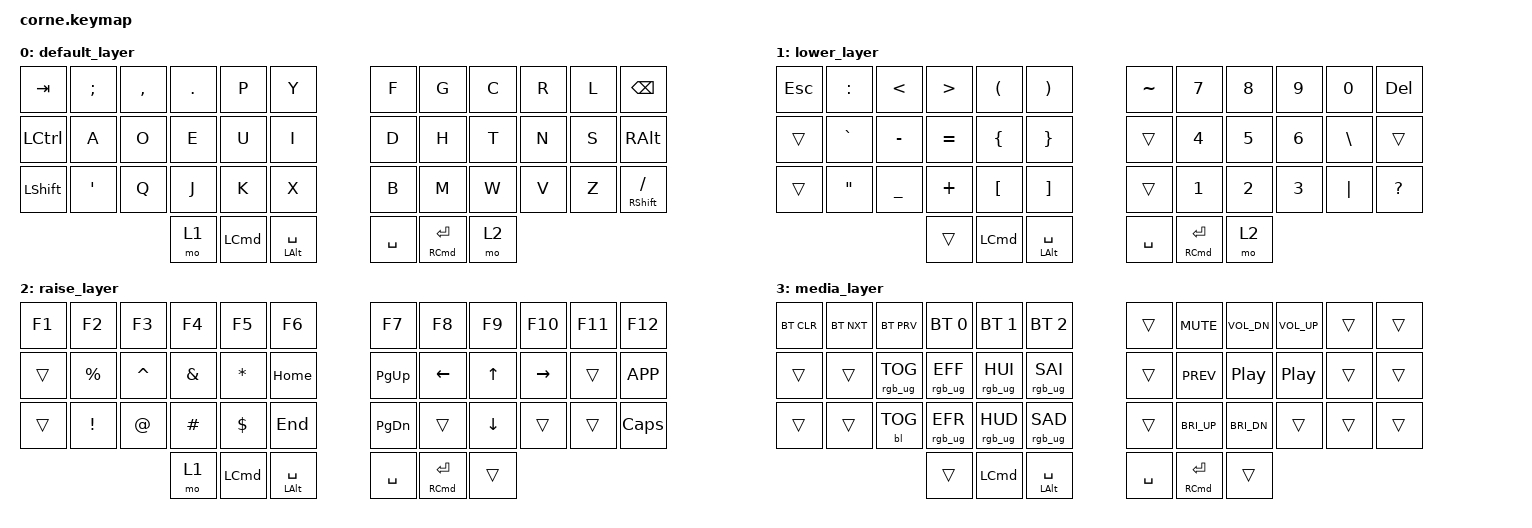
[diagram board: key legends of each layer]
/*
* Copyright (c) 2020 The ZMK Contributors
*
* SPDX-License-Identifier: MIT
*/

#include <behaviors.dtsi>
#include <dt-bindings/zmk/keys.h>
#include <dt-bindings/zmk/bt.h>
#include <dt-bindings/zmk/rgb.h>
#include <dt-bindings/zmk/backlight.h>

/ {
  keymap {
    compatible = "zmk,keymap";

    default_layer {
      bindings = <
        &kp TAB   &kp SEMICOLON &kp COMMA &kp DOT &kp P &kp Y   &kp F &kp G &kp C &kp R &kp L &kp BSPC
        &kp LCTRL &kp A         &kp O     &kp E   &kp U &kp I   &kp D &kp H &kp T &kp N &kp S &kp RALT
        &kp LSHFT &kp SQT       &kp Q     &kp J   &kp K &kp X   &kp B &kp M &kp W &kp V &kp Z &mt RSHFT SLASH
        &mo 1 &kp LCMD &mt LALT SPACE   &kp SPACE &mt RCMD ENTER &mo 2
      >;
    };

    lower_layer {
      bindings = <
        &kp ESC &kp COLON &kp LT    &kp GT    &kp LPAR &kp RPAR   &kp TILDE &kp N7 &kp N8 &kp N9 &kp N0        &kp DEL 
        &trans  &kp GRAVE &kp MINUS &kp EQUAL &kp LBRC &kp RBRC   &trans    &kp N4 &kp N5 &kp N6 &kp BACKSLASH &trans
        &trans  &kp DQT   &kp UNDER &kp PLUS  &kp LBKT &kp RBKT   &trans    &kp N1 &kp N2 &kp N3 &kp PIPE      &kp QMARK
        &trans &kp LCMD &mt LALT SPACE   &kp SPACE &mt RCMD ENTER &mo 2
      >;
    };

    raise_layer {
      bindings = <
        &kp F1 &kp F2    &kp F3    &kp F4   &kp F5    &kp F6     &kp F7    &kp F8   &kp F9   &kp F10   &kp F11 &kp F12
        &trans &kp PRCNT &kp CARET &kp AMPS &kp ASTRK &kp HOME   &kp PG_UP &kp LEFT &kp UP   &kp RIGHT &trans  &kp K_APP
        &trans &kp EXCL  &kp AT    &kp HASH &kp DLLR  &kp END    &kp PG_DN &trans   &kp DOWN &trans    &trans  &kp CAPS
        &mo 1 &kp LCMD &mt LALT SPACE   &kp SPACE &mt RCMD ENTER &trans
      >;
    };

    media_layer {
      bindings = <
        &bt BT_CLR &bt BT_NXT &bt BT_PRV &bt BT_SEL 0 &bt BT_SEL 1 &bt BT_SEL 2 &trans &kp K_MUTE &kp C_VOL_DN &kp C_VOL_UP &trans &trans
        &trans &trans &rgb_ug RGB_TOG &rgb_ug RGB_EFF &rgb_ug RGB_HUI &rgb_ug RGB_SAI &trans &kp C_PREV   &kp C_PP     &kp C_PP     &trans &trans
        &trans &trans &bl BL_TOG &rgb_ug RGB_EFR &rgb_ug RGB_HUD &rgb_ug RGB_SAD       &trans &kp C_BRI_UP &kp C_BRI_DN &trans       &trans &trans
        &trans &kp LCMD &mt LALT SPACE   &kp SPACE &mt RCMD ENTER &trans
      >;
    };
  };

  conditional_layers {
    compatible = "zmk,conditional-layers";
    tri_layer {
      if-layers = <1 2>;
      then-layer = <3>;
    };
  };
};
